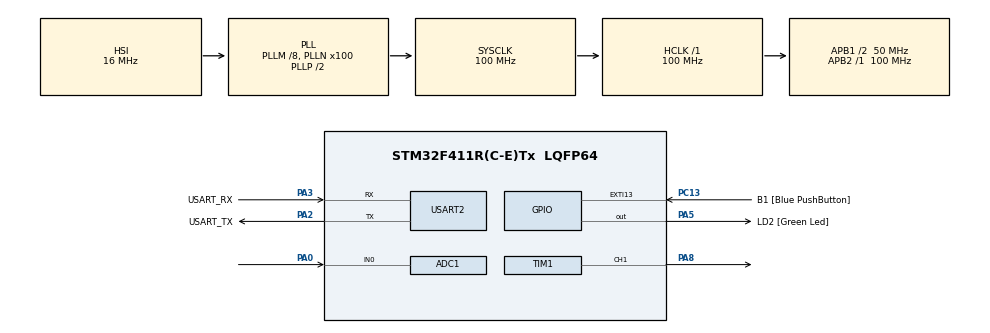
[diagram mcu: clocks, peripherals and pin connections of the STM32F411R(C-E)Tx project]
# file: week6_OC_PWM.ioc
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ADC1.Channel-0\#ChannelRegularConversion=ADC_CHANNEL_0
ADC1.ExternalTrigConv=ADC_EXTERNALTRIGCONV_T3_TRGO
ADC1.NbrOfConversionFlag=1
ADC1.Rank-0\#ChannelRegularConversion=1
ADC1.SamplingTime-0\#ChannelRegularConversion=ADC_SAMPLETIME_3CYCLES
ADC1.master=1
Mcu.Family=STM32F4
Mcu.Name=STM32F411R(C-E)Tx
Mcu.Package=LQFP64
NVIC.ADC_IRQn=true\:0\:0\:false\:false\:true\:true\:true
NVIC.PriorityGroup=NVIC_PRIORITYGROUP_0
NVIC.TIM1_TRG_COM_TIM11_IRQn=true\:0\:0\:false\:false\:true\:true\:true
PA0-WKUP.Signal=ADCx_IN0
PA13.GPIO_Label=TMS
PA13.Mode=Serial_Wire
PA13.Signal=SYS_JTMS-SWDIO
PA14.GPIO_Label=TCK
PA14.Mode=Serial_Wire
PA14.Signal=SYS_JTCK-SWCLK
PA2.GPIO_Label=USART_TX
PA2.Mode=Asynchronous
PA2.Signal=USART2_TX
PA3.GPIO_Label=USART_RX
PA3.Mode=Asynchronous
PA3.Signal=USART2_RX
PA5.GPIO_Label=LD2 [Green Led]
PA5.Signal=GPIO_Output
PA8.Signal=S_TIM1_CH1
PB3.GPIO_Label=SWO
PB3.Signal=SYS_JTDO-SWO
PC13-ANTI_TAMP.GPIO_Label=B1 [Blue PushButton]
PC13-ANTI_TAMP.GPIO_ModeDefaultEXTI=GPIO_MODE_IT_FALLING
PC13-ANTI_TAMP.Signal=GPXTI13
PC14-OSC32_IN.Mode=LSE-External-Oscillator
PC14-OSC32_IN.Signal=RCC_OSC32_IN
PC15-OSC32_OUT.Mode=LSE-External-Oscillator
PC15-OSC32_OUT.Signal=RCC_OSC32_OUT
PH0\ -\ OSC_IN.Mode=HSE-External-Clock-Source
PH0\ -\ OSC_IN.Signal=RCC_OSC_IN
PH1\ -\ OSC_OUT.Mode=HSE-External-Clock-Source
PH1\ -\ OSC_OUT.Signal=RCC_OSC_OUT
ProjectManager.HeapSize=0x200
ProjectManager.StackSize=0x400
ProjectManager.TargetToolchain=STM32CubeIDE
RCC.48MHZClocksFreq_Value=50000000
RCC.AHBFreq_Value=100000000
RCC.APB1CLKDivider=RCC_HCLK_DIV2
RCC.APB1Freq_Value=50000000
RCC.APB1TimFreq_Value=100000000
RCC.APB2Freq_Value=100000000
RCC.APB2TimFreq_Value=100000000
RCC.CortexFreq_Value=100000000
RCC.FLatency-AdvancedSettings=FLASH_LATENCY_3
RCC.HCLKFreq_Value=100000000
RCC.HSE_VALUE=8000000
RCC.HSI_VALUE=16000000
RCC.PLLM=8
RCC.PLLN=100
RCC.SYSCLKFreq_VALUE=100000000
RCC.SYSCLKSource=RCC_SYSCLKSOURCE_PLLCLK
RCC.VCOOutputFreq_Value=200000000
SH.ADCx_IN0.0=ADC1_IN0,IN0
SH.S_TIM1_CH1.0=TIM1_CH1,PWM Generation1 CH1
TIM1.AutoReloadPreload=TIM_AUTORELOAD_PRELOAD_ENABLE
TIM1.Channel-PWM\ Generation1\ CH1=TIM_CHANNEL_1
TIM1.OC1Preload_PWM=ENABLE
TIM1.Period=10000
TIM1.Pulse-PWM\ Generation1\ CH1=5000
TIM11.Prescaler=99
TIM3.Period=1000
TIM3.Prescaler=99
TIM3.TIM_MasterOutputTrigger=TIM_TRGO_UPDATE
USART2.VirtualMode=VM_ASYNC
VP_TIM11_VS_ClockSourceINT.Mode=Enable_Timer
VP_TIM1_VS_ClockSourceINT.Mode=Internal
VP_TIM3_VS_ClockSourceINT.Mode=Internal
board=NUCLEO-F411RE

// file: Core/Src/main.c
/* USER CODE BEGIN Header */
/**
 ******************************************************************************
 * @file           : main.c
 * @brief          : Main program body
 ******************************************************************************
 * @attention
 *
 * <h2><center>&copy; Copyright (c) 2021 STMicroelectronics.
 * All rights reserved.</center></h2>
 *
 * This software component is licensed by ST under BSD 3-Clause license,
 * the "License"; You may not use this file except in compliance with the
 * License. You may obtain a copy of the License at:
 *                        opensource.org/licenses/BSD-3-Clause
 *
 ******************************************************************************
 */
/* USER CODE END Header */
#include "main.h"

ADC_HandleTypeDef hadc1;

TIM_HandleTypeDef htim1;
TIM_HandleTypeDef htim3;
TIM_HandleTypeDef htim11;

UART_HandleTypeDef huart2;

/* USER CODE BEGIN PV */

uint8_t ADCUpdateFlag = 0;
// Store ADC Value
float ADCFeedBack = 0;
float OutputVol = 0;
float Kp = 2;
float PWMOut = 0;
float VolRef = 1000; // V
float ADCRef = 1241;

uint64_t _micro = 0;
uint64_t TimeOutputLoop = 0;
/* USER CODE END PV */

void SystemClock_Config(void);
static void MX_GPIO_Init(void);
static void MX_USART2_UART_Init(void);
static void MX_ADC1_Init(void);
static void MX_TIM1_Init(void);
static void MX_TIM3_Init(void);
static void MX_TIM11_Init(void);
/* USER CODE BEGIN PFP */
uint64_t micros();
/* USER CODE END PFP */

int main(void)
{

  /* MCU Configuration--------------------------------------------------------*/

  /* Reset of all peripherals, Initializes the Flash interface and the Systick. */
  HAL_Init();

  /* Configure the system clock */
  SystemClock_Config();

  /* Initialize all configured peripherals */
  MX_GPIO_Init();
  MX_USART2_UART_Init();
  MX_ADC1_Init();
  MX_TIM1_Init();
  MX_TIM3_Init();
  MX_TIM11_Init();
  /* USER CODE BEGIN 2 */
  	//ADC start
	HAL_ADC_Start_IT(&hadc1);
	HAL_TIM_Base_Start(&htim3);
	//Start PWM
	HAL_TIM_Base_Start(&htim1);
	HAL_TIM_PWM_Start(&htim1, TIM_CHANNEL_1);
	//Start micros
	HAL_TIM_Base_Start_IT(&htim11);

  /* USER CODE END 2 */

  /* Infinite loop */
	while (1) {

    /* USER CODE BEGIN 3 */

		//1 Khz Loop

		if (micros() - TimeOutputLoop > 1000)//uS
		{
			TimeOutputLoop = micros();
			// #001
			ADCRef = (VolRef*4096)/3300;
			OutputVol = (ADCFeedBack * 3300)/4096;
			PWMOut += Kp * (ADCRef - ADCFeedBack) ;
			__HAL_TIM_SET_COMPARE(&htim1, TIM_CHANNEL_1, PWMOut);
		}

		if (ADCUpdateFlag) {
			ADCUpdateFlag = 0;
			//#002
		}

	}
  /* USER CODE END 3 */
}

void SystemClock_Config(void)
{
  RCC_OscInitTypeDef RCC_OscInitStruct = {0};
  RCC_ClkInitTypeDef RCC_ClkInitStruct = {0};

  /** Configure the main internal regulator output voltage
  */
  __HAL_RCC_PWR_CLK_ENABLE();
  __HAL_PWR_VOLTAGESCALING_CONFIG(PWR_REGULATOR_VOLTAGE_SCALE1);
  /** Initializes the RCC Oscillators according to the specified parameters
  * in the RCC_OscInitTypeDef structure.
  */
  RCC_OscInitStruct.OscillatorType = RCC_OSCILLATORTYPE_HSI;
  RCC_OscInitStruct.HSIState = RCC_HSI_ON;
  RCC_OscInitStruct.HSICalibrationValue = RCC_HSICALIBRATION_DEFAULT;
  RCC_OscInitStruct.PLL.PLLState = RCC_PLL_ON;
  RCC_OscInitStruct.PLL.PLLSource = RCC_PLLSOURCE_HSI;
  RCC_OscInitStruct.PLL.PLLM = 8;
  RCC_OscInitStruct.PLL.PLLN = 100;
  RCC_OscInitStruct.PLL.PLLP = RCC_PLLP_DIV2;
  RCC_OscInitStruct.PLL.PLLQ = 4;
  if (HAL_RCC_OscConfig(&RCC_OscInitStruct) != HAL_OK)
  {
    Error_Handler();
  }
  /** Initializes the CPU, AHB and APB buses clocks
  */
  RCC_ClkInitStruct.ClockType = RCC_CLOCKTYPE_HCLK|RCC_CLOCKTYPE_SYSCLK
                              |RCC_CLOCKTYPE_PCLK1|RCC_CLOCKTYPE_PCLK2;
  RCC_ClkInitStruct.SYSCLKSource = RCC_SYSCLKSOURCE_PLLCLK;
  RCC_ClkInitStruct.AHBCLKDivider = RCC_SYSCLK_DIV1;
  RCC_ClkInitStruct.APB1CLKDivider = RCC_HCLK_DIV2;
  RCC_ClkInitStruct.APB2CLKDivider = RCC_HCLK_DIV1;

  if (HAL_RCC_ClockConfig(&RCC_ClkInitStruct, FLASH_LATENCY_3) != HAL_OK)
  {
    Error_Handler();
  }
}

static void MX_ADC1_Init(void)
{

  ADC_ChannelConfTypeDef sConfig = {0};

  /** Configure the global features of the ADC (Clock, Resolution, Data Alignment and number of conversion)
  */
  hadc1.Instance = ADC1;
  hadc1.Init.ClockPrescaler = ADC_CLOCK_SYNC_PCLK_DIV4;
  hadc1.Init.Resolution = ADC_RESOLUTION_12B;
  hadc1.Init.ScanConvMode = DISABLE;
  hadc1.Init.ContinuousConvMode = DISABLE;
  hadc1.Init.DiscontinuousConvMode = DISABLE;
  hadc1.Init.ExternalTrigConvEdge = ADC_EXTERNALTRIGCONVEDGE_RISING;
  hadc1.Init.ExternalTrigConv = ADC_EXTERNALTRIGCONV_T3_TRGO;
  hadc1.Init.DataAlign = ADC_DATAALIGN_RIGHT;
  hadc1.Init.NbrOfConversion = 1;
  hadc1.Init.DMAContinuousRequests = DISABLE;
  hadc1.Init.EOCSelection = ADC_EOC_SINGLE_CONV;
  if (HAL_ADC_Init(&hadc1) != HAL_OK)
  {
    Error_Handler();
  }
  /** Configure for the selected ADC regular channel its corresponding rank in the sequencer and its sample time.
  */
  sConfig.Channel = ADC_CHANNEL_0;
  sConfig.Rank = 1;
  sConfig.SamplingTime = ADC_SAMPLETIME_3CYCLES;
  if (HAL_ADC_ConfigChannel(&hadc1, &sConfig) != HAL_OK)
  {
    Error_Handler();
  }

}

static void MX_TIM1_Init(void)
{

  TIM_ClockConfigTypeDef sClockSourceConfig = {0};
  TIM_MasterConfigTypeDef sMasterConfig = {0};
  TIM_OC_InitTypeDef sConfigOC = {0};
  TIM_BreakDeadTimeConfigTypeDef sBreakDeadTimeConfig = {0};

  htim1.Instance = TIM1;
  htim1.Init.Prescaler = 0;
  htim1.Init.CounterMode = TIM_COUNTERMODE_UP;
  htim1.Init.Period = 10000;
  htim1.Init.ClockDivision = TIM_CLOCKDIVISION_DIV1;
  htim1.Init.RepetitionCounter = 0;
  htim1.Init.AutoReloadPreload = TIM_AUTORELOAD_PRELOAD_ENABLE;
  if (HAL_TIM_Base_Init(&htim1) != HAL_OK)
  {
    Error_Handler();
  }
  sClockSourceConfig.ClockSource = TIM_CLOCKSOURCE_INTERNAL;
  if (HAL_TIM_ConfigClockSource(&htim1, &sClockSourceConfig) != HAL_OK)
  {
    Error_Handler();
  }
  if (HAL_TIM_PWM_Init(&htim1) != HAL_OK)
  {
    Error_Handler();
  }
  sMasterConfig.MasterOutputTrigger = TIM_TRGO_RESET;
  sMasterConfig.MasterSlaveMode = TIM_MASTERSLAVEMODE_DISABLE;
  if (HAL_TIMEx_MasterConfigSynchronization(&htim1, &sMasterConfig) != HAL_OK)
  {
    Error_Handler();
  }
  sConfigOC.OCMode = TIM_OCMODE_PWM1;
  sConfigOC.Pulse = 5000;
  sConfigOC.OCPolarity = TIM_OCPOLARITY_HIGH;
  sConfigOC.OCNPolarity = TIM_OCNPOLARITY_HIGH;
  sConfigOC.OCFastMode = TIM_OCFAST_DISABLE;
  sConfigOC.OCIdleState = TIM_OCIDLESTATE_RESET;
  sConfigOC.OCNIdleState = TIM_OCNIDLESTATE_RESET;
  if (HAL_TIM_PWM_ConfigChannel(&htim1, &sConfigOC, TIM_CHANNEL_1) != HAL_OK)
  {
    Error_Handler();
  }
  sBreakDeadTimeConfig.OffStateRunMode = TIM_OSSR_DISABLE;
  sBreakDeadTimeConfig.OffStateIDLEMode = TIM_OSSI_DISABLE;
  sBreakDeadTimeConfig.LockLevel = TIM_LOCKLEVEL_OFF;
  sBreakDeadTimeConfig.DeadTime = 0;
  sBreakDeadTimeConfig.BreakState = TIM_BREAK_DISABLE;
  sBreakDeadTimeConfig.BreakPolarity = TIM_BREAKPOLARITY_HIGH;
  sBreakDeadTimeConfig.AutomaticOutput = TIM_AUTOMATICOUTPUT_DISABLE;
  if (HAL_TIMEx_ConfigBreakDeadTime(&htim1, &sBreakDeadTimeConfig) != HAL_OK)
  {
    Error_Handler();
  }
  HAL_TIM_MspPostInit(&htim1);

}

static void MX_TIM3_Init(void)
{

  TIM_ClockConfigTypeDef sClockSourceConfig = {0};
  TIM_MasterConfigTypeDef sMasterConfig = {0};

  htim3.Instance = TIM3;
  htim3.Init.Prescaler = 99;
  htim3.Init.CounterMode = TIM_COUNTERMODE_UP;
  htim3.Init.Period = 1000;
  htim3.Init.ClockDivision = TIM_CLOCKDIVISION_DIV1;
  htim3.Init.AutoReloadPreload = TIM_AUTORELOAD_PRELOAD_DISABLE;
  if (HAL_TIM_Base_Init(&htim3) != HAL_OK)
  {
    Error_Handler();
  }
  sClockSourceConfig.ClockSource = TIM_CLOCKSOURCE_INTERNAL;
  if (HAL_TIM_ConfigClockSource(&htim3, &sClockSourceConfig) != HAL_OK)
  {
    Error_Handler();
  }
  sMasterConfig.MasterOutputTrigger = TIM_TRGO_UPDATE;
  sMasterConfig.MasterSlaveMode = TIM_MASTERSLAVEMODE_DISABLE;
  if (HAL_TIMEx_MasterConfigSynchronization(&htim3, &sMasterConfig) != HAL_OK)
  {
    Error_Handler();
  }

}

static void MX_TIM11_Init(void)
{

  htim11.Instance = TIM11;
  htim11.Init.Prescaler = 99;
  htim11.Init.CounterMode = TIM_COUNTERMODE_UP;
  htim11.Init.Period = 65535;
  htim11.Init.ClockDivision = TIM_CLOCKDIVISION_DIV1;
  htim11.Init.AutoReloadPreload = TIM_AUTORELOAD_PRELOAD_DISABLE;
  if (HAL_TIM_Base_Init(&htim11) != HAL_OK)
  {
    Error_Handler();
  }

}

static void MX_USART2_UART_Init(void)
{

  huart2.Instance = USART2;
  huart2.Init.BaudRate = 115200;
  huart2.Init.WordLength = UART_WORDLENGTH_8B;
  huart2.Init.StopBits = UART_STOPBITS_1;
  huart2.Init.Parity = UART_PARITY_NONE;
  huart2.Init.Mode = UART_MODE_TX_RX;
  huart2.Init.HwFlowCtl = UART_HWCONTROL_NONE;
  huart2.Init.OverSampling = UART_OVERSAMPLING_16;
  if (HAL_UART_Init(&huart2) != HAL_OK)
  {
    Error_Handler();
  }

}

static void MX_GPIO_Init(void)
{
  GPIO_InitTypeDef GPIO_InitStruct = {0};

  /* GPIO Ports Clock Enable */
  __HAL_RCC_GPIOC_CLK_ENABLE();
  __HAL_RCC_GPIOH_CLK_ENABLE();
  __HAL_RCC_GPIOA_CLK_ENABLE();
  __HAL_RCC_GPIOB_CLK_ENABLE();

  /*Configure GPIO pin Output Level */
  HAL_GPIO_WritePin(LD2_GPIO_Port, LD2_Pin, GPIO_PIN_RESET);

  /*Configure GPIO pin : B1_Pin */
  GPIO_InitStruct.Pin = B1_Pin;
  GPIO_InitStruct.Mode = GPIO_MODE_IT_FALLING;
  GPIO_InitStruct.Pull = GPIO_NOPULL;
  HAL_GPIO_Init(B1_GPIO_Port, &GPIO_InitStruct);

  /*Configure GPIO pin : LD2_Pin */
  GPIO_InitStruct.Pin = LD2_Pin;
  GPIO_InitStruct.Mode = GPIO_MODE_OUTPUT_PP;
  GPIO_InitStruct.Pull = GPIO_NOPULL;
  GPIO_InitStruct.Speed = GPIO_SPEED_FREQ_LOW;
  HAL_GPIO_Init(LD2_GPIO_Port, &GPIO_InitStruct);

}

/* USER CODE BEGIN 4 */

void HAL_ADC_ConvCpltCallback(ADC_HandleTypeDef *hadc) {
	ADCFeedBack = HAL_ADC_GetValue(&hadc1);
	ADCUpdateFlag = 1;
}
void HAL_TIM_PeriodElapsedCallback(TIM_HandleTypeDef *htim) {
	if (htim == &htim11) {
		_micro += 65535;
	}
}

__inline__ uint64_t micros() {
	return _micro + htim11.Instance->CNT;
}
/* USER CODE END 4 */

void Error_Handler(void)
{
	__disable_irq();
	while (1) {
	}
}

/************************ (C) COPYRIGHT STMicroelectronics *****END OF FILE****/
